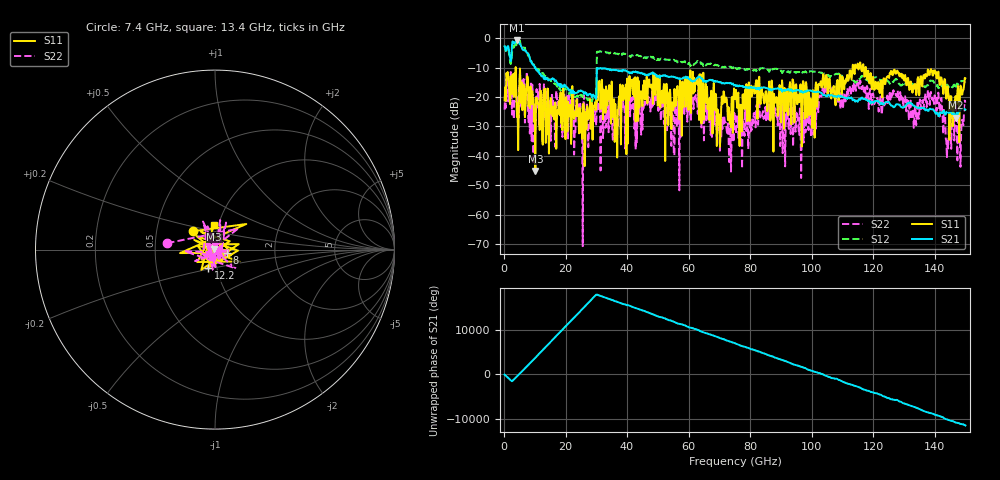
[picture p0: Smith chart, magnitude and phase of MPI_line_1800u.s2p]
!  2-Port S-parameters saved by WinCal
! VAR MeasName=S-Parameters (RAW_DATA) read from VNA (MS4647B)
! VAR MeasDate=09-Dec-21 16:22:37
! VAR NAME=L3
! VAR FILENAME=L3.S2P
! VAR DATE=09-Dec-21 16:22:37
! VAR PHYS_PORTS=1,2
! VAR ObjTypeName=DATASET
! VAR IndexType=Frequency
# Hz S RI R 50
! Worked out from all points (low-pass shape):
!   750 points, 200 MHz to 150 GHz, reference 50 ohm
!   highest |S21| = -0.74 dB at 4.2 GHz (marker M1); lowest = -27.0 dB at 146.8 GHz (marker M2)
!   |S21| within 3 dB of the highest: 757.4 MHz to 1.563 GHz (805.1 MHz wide, 69.4 % of centre); 2.541 GHz to 6.012 GHz (3.471 GHz wide, 81.2 % of centre)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
!   lowest |S11| = -45.1 dB at 10.2 GHz (marker M3), VSWR 1.01, Z = 49.5 + j0.3 ohm
!   |S11| at or under -10 dB: start of sweep to 3.796 GHz; 3.804 GHz to 113.3 GHz (109.5 GHz wide, 187 % of centre); 117.6 GHz to end of sweep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
!   |S22| runs from -70.8 to -11.4 dB; largest |S21 - S12| = 1.8
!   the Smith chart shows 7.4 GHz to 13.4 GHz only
!   S11 on the Smith chart (normalised r, x): 7.4 GHz: 0.76, +0.16; 8 GHz: 1.15, -0.04; 12.2 GHz: 0.91, -0.19; 13.4 GHz: 0.95, +0.27
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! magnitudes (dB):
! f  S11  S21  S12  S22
! 200 MHz  -21.1  -2.7  -2.6  -24.3
! 4.2 GHz  -26.8  -0.7  -1.4  -20.8
! 7.4 GHz  -15.9  -4.9  -4.7  -11.4
! 8 GHz  -23.1  -5.4  -5.7  -28.5
! 10.2 GHz  -45.1  -9.8  -9.9  -28.3
! 12.2 GHz  -19.3  -13.0  -12.0  -21.6
! 13.4 GHz  -17.2  -14.0  -12.8  -27.1
! 25.2 GHz  -26.7  -17.8  -19.6  -29.4
! 29.4 GHz  -23.3  -19.7  -21.3  -26.5
! 30.8 GHz  -15.2  -10.3  -4.6  -21.7
! 36.6 GHz  -27.6  -10.8  -5.2  -27.0
! 41 GHz  -19.9  -11.6  -5.9  -26.6
! 50.2 GHz  -18.8  -12.8  -7.1  -24.7
! 54.8 GHz  -21.8  -13.0  -7.3  -24.1
! 62.4 GHz  -15.5  -14.0  -8.4  -19.3
! 69.8 GHz  -29.3  -14.8  -9.3  -29.5
! 75.2 GHz  -20.8  -15.9  -10.3  -25.4
! 100.2 GHz  -30.6  -18.0  -11.3  -25.5
! 104.8 GHz  -12.5  -19.7  -12.3  -18.4
! 125.2 GHz  -13.5  -21.7  -15.0  -21.3
! 146.8 GHz  -19.7  -27.0  -17.1  -23.0
! 150 GHz  -13.6  -24.4  -15.1  -21.9
